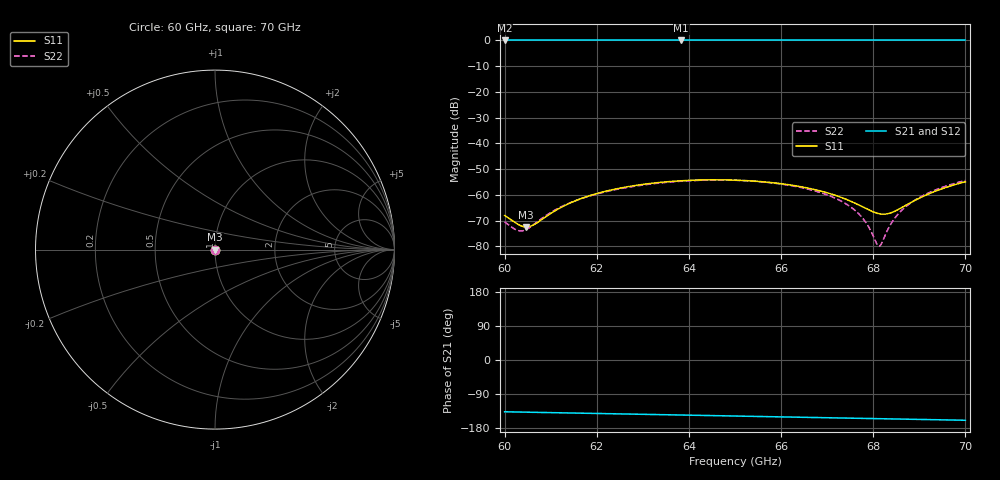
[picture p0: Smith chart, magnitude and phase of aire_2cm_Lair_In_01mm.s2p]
! TOUCHSTONE file generated by CST MICROWAVE STUDIO
! Date and time: Fri Mar  8 11:35:16 2024
! Project name: aire_def.cst
! Parameters = {d=9.05}
! Header version: 2018
! Port assignment regex: !\s*Touchstone port\s*([0-9]+)\s*=\s*(CST MWS port|CST DS port)\s*([0-9]+|Zmin|Zmax)\s*\(\"(.*)\"\)(\s*mode\s*([0-9]+))?.*
! Touchstone port assignment:
! Touchstone port 1 = CST MWS port 1 ("")
! Touchstone port 2 = CST MWS port 2 ("")
# GHz S MA R 376.7
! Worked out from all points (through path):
!   1001 points, 60 GHz to 70 GHz, reference 376.7 ohm
!   highest |S21| = 0.00 dB at 63.83 GHz (marker M1); lowest = 0.0 dB at 60 GHz (marker M2)
!   group delay of S21, straight-line fit = 6.24 ps
!   lowest |S11| = -72.5 dB at 60.47 GHz (marker M3), VSWR 1.00, Z = 377 - j0.144 ohm
!   |S11| at or under -10 dB: start of sweep to end of sweep
!   |S22| runs from -79.9 to -54.2 dB; largest |S21 - S12| = 0.0016
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60  0.0003976 -70.7  0.9996 -136.6  1 -136.6  0.000298 -4.8
60.28  0.0002714 -96.9  0.9997 -137.2  1 -137.2  0.0002043 29.5
60.47  0.0002378 -126.5  0.9997 -137.7  1 -137.7  0.0002119 62.5
60.65  0.0002675 -155.2  0.9997 -138.1  1 -138.1  0.000273 85.2
61.08  0.0004823 168.7  0.9998 -139.0  1 -139.0  0.0005005 107.5
61.67  0.0008537 151.3  0.9998 -140.4  1 -140.4  0.0008493 115.9
62.43  0.001312 140.3  0.9999 -142.1  1 -142.1  0.001278 118.4
63.34  0.001735 131.8  1 -144.1  0.9999 -144.1  0.001693 118.2
63.83  0.001879 128.4  1 -145.2  0.9998 -145.2  0.001844 117.5
65  0.001934 123.8  1 -147.9  1 -147.8  0.001923 115.7
65.91  0.001686 124.3  1 -149.9  0.9998 -149.9  0.001665 115.0
66.67  0.001304 129.0  1 -151.6  0.9997 -151.6  0.001238 115.7
67.2  0.0009649 137.1  1 -152.8  0.9997 -152.8  0.0008426 117.8
67.59  0.0006999 149.4  1 -153.7  0.9997 -153.7  0.0005127 122.4
67.84  0.0005448 164.0  1 -154.2  0.9997 -154.2  0.0002918 131.5
68.11  0.0004338 -169.3  1 -154.8  0.9997 -154.9  0.000102 -167.6
68.18  0.0004231 -160.5  1 -155.0  0.9998 -155.0  0.0001135 -131.0
68.34  0.0004356 -139.8  1 -155.4  0.9998 -155.4  0.0002332 -93.8
68.58  0.0005418 -114.3  1 -155.9  0.9998 -155.9  0.0004627 -80.5
68.92  0.0007951 -93.4  1 -156.6  0.9998 -156.7  0.0008055 -74.6
69.4  0.001228 -78.7  1 -157.7  0.9999 -157.7  0.001298 -71.0
70  0.001798 -68.4  1 -159.0  1 -159.1  0.001906 -68.4
